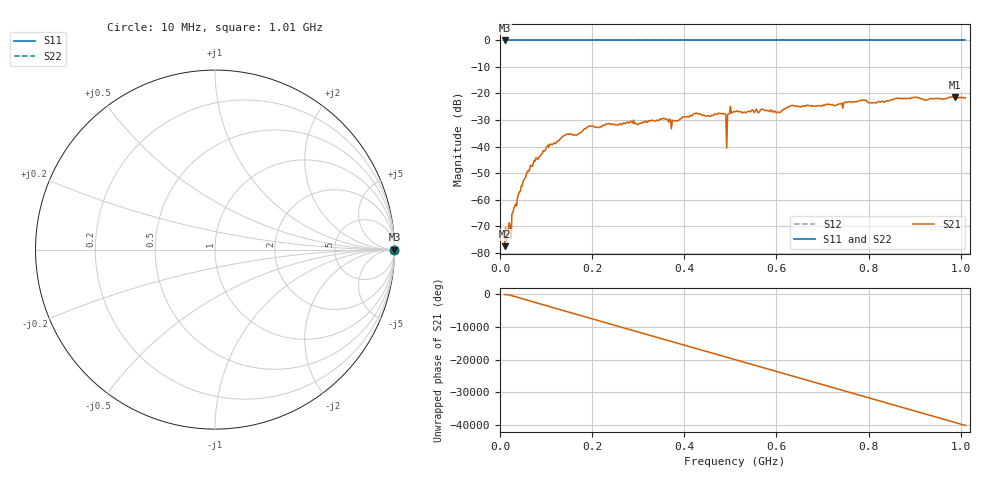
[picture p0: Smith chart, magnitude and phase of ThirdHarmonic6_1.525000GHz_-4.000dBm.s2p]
! 8/16/2025 6:01:04 PM
! C:\ANRITSUVNA\TEMP\TEMP.S2P
! CHANNEL.1
! TR.MEASUREMENT
! RAW.DATA
! RF.CORRECTION.OFF
! AVERAGING.OFF
! IF.BANDWIDTH: 5KHZ
! SWEEPTYPE:  FREQ.SWEEP(Linear)
! Reference Plane Port Info
! PORT:  PORT1  PORT2
! DISTANCE:  0  m  0  m
! TIME:  0  s  0  s
! PHASE.OFFSET:  0  deg.  0  deg.
! LOSS:  0  dB  0  dB
! REF.LOSS:  0  dB  0  dB
! REF.FREQ:  0  Hz  0  Hz
! Power Info
! POWER:  -20  dBm  -20  dBm
! EFF.POWER:  -20  dBm  -20  dBm
! SOURCE.ATTEN:  0  dB  0  dB
! TEST.ATTEN:  0  dB  0  dB
# GHZ S RI R 50.0
! FREQ.GHZ  S11RE  S11IM  S21RE  S21IM  S12RE  S12IM  S22RE  S22IM
!; PortSelection: Port_12
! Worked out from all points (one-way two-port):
!   501 points, 10 MHz to 1.01 GHz, reference 50 ohm
!   highest |S21| = -21.31 dB at 988 MHz (marker M1); lowest = -77.6 dB at 10 MHz (marker M2)
!   lowest |S11| = 0.0 dB at 10 MHz (marker M3)
!   |S11| at or under -10 dB: nowhere
!   |S22| runs from 0.0 to 0.0 dB; largest |S21 - S12| = 1.1
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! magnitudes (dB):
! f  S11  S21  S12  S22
! 10 MHz  0.0  -77.6  0.0  0.0
! 16 MHz  0.0  -73.2  0.0  0.0
! 20 MHz  0.0  -68.8  0.0  0.0
! 30 MHz  0.0  -63.3  0.0  0.0
! 50 MHz  0.0  -53.2  0.0  0.0
! 76 MHz  0.0  -45.6  0.0  0.0
! 140 MHz  0.0  -35.8  0.0  0.0
! 178 MHz  0.0  -34.3  0.0  0.0
! 196 MHz  0.0  -32.2  0.0  0.0
! 344 MHz  0.0  -30.2  0.0  0.0
! 376 MHz  0.0  -30.1  0.0  0.0
! 424 MHz  0.0  -27.6  0.0  0.0
! 478 MHz  0.0  -27.6  0.0  0.0
! 494 MHz  0.0  -27.9  0.0  0.0
! 498 MHz  0.0  -27.7  0.0  0.0
! 510 MHz  0.0  -26.9  0.0  0.0
! 604 MHz  0.0  -27.0  0.0  0.0
! 632 MHz  0.0  -24.6  0.0  0.0
! 678 MHz  0.0  -24.8  0.0  0.0
! 844 MHz  0.0  -22.8  0.0  0.0
! 988 MHz  0.0  -21.3  0.0  0.0
! 1.01 GHz  0.0  -21.6  0.0  0.0
